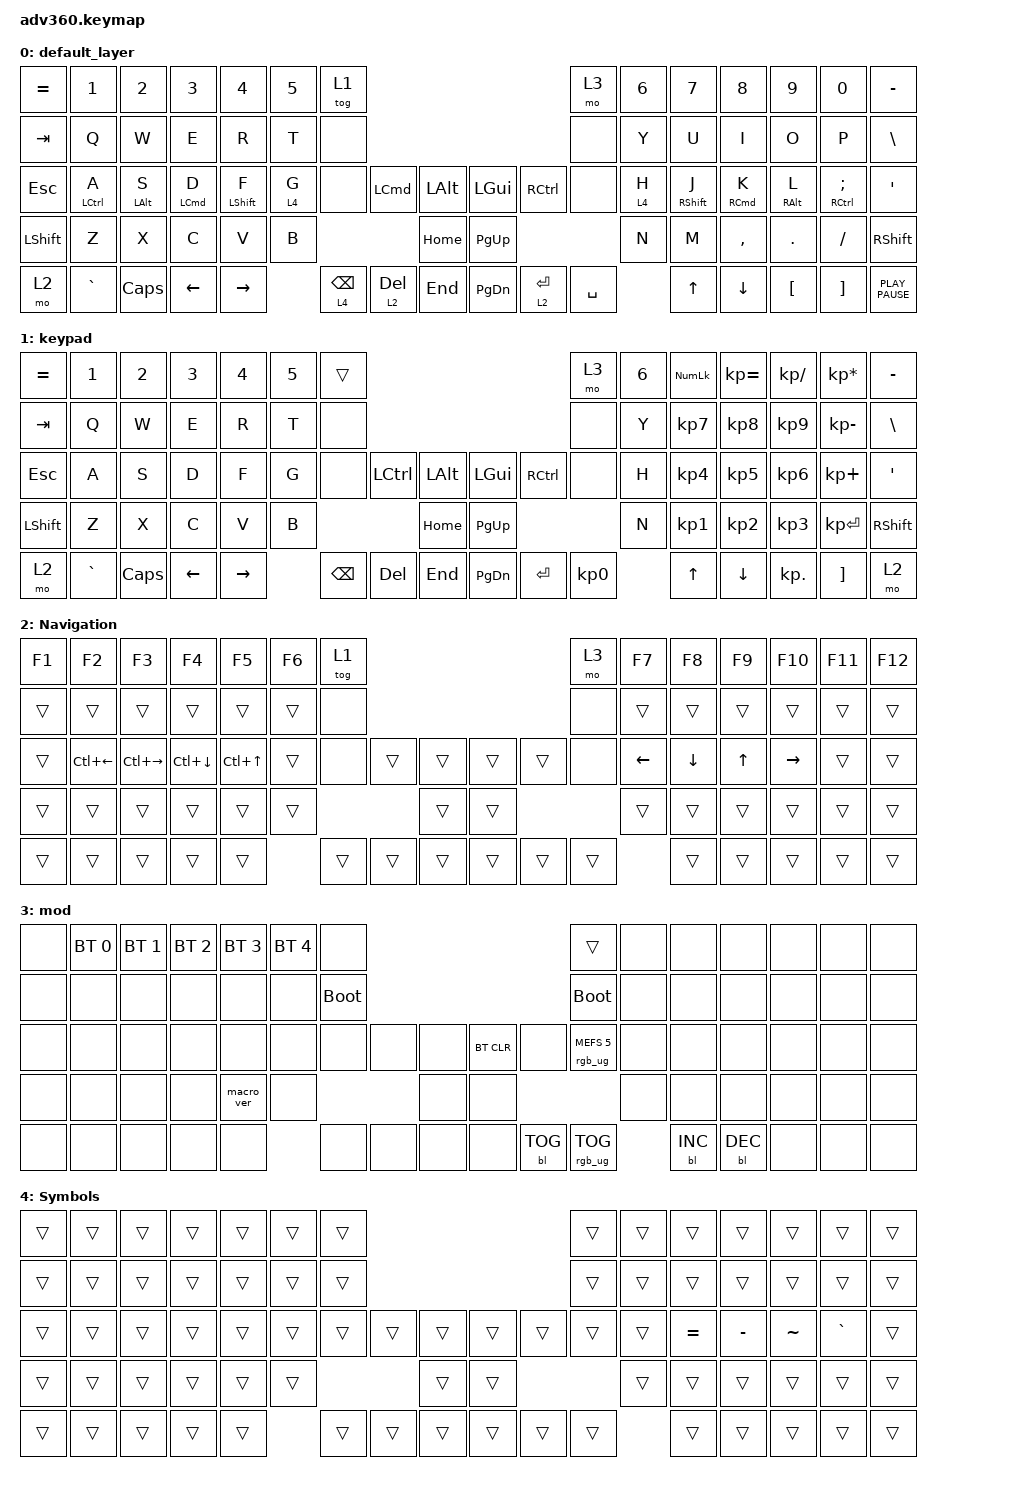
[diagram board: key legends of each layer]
#include <behaviors.dtsi>
#include <dt-bindings/zmk/backlight.h>
#include <dt-bindings/zmk/bt.h>
#include <dt-bindings/zmk/keys.h>
#include <dt-bindings/zmk/rgb.h>

/ {
    behaviors {
        #include "macros.dtsi"
      #include "version.dtsi"
      #ifndef VERSION_MACRO

        macro_ver: macro_ver {
            compatible = "zmk,behavior-macro";
            label = "macro_version";
            #binding-cells = <0>;
            bindings = <&kp RET>;
        };

        #endif

        hm: homerow_mods {
            compatible = "zmk,behavior-hold-tap";
            label = "HOMEROW_MODS";
            #binding-cells = <2>;
            tapping-term-ms = <200>;
            quick_tap_ms = <175>;
            flavor = "tap-preferred";
            bindings = <&kp>, <&kp>;
        };

        hml: hml {
            compatible = "zmk,behavior-hold-tap";
            label = "HOMEROW_LAYERS";
            #binding-cells = <2>;
            tapping-term-ms = <200>;
            quick_tap_ms = <175>;
            flavor = "tap-preferred";
            bindings = <&mo>, <&kp>;
        };
    };

    macros {
    };

    keymap {
        compatible = "zmk,keymap";

        default_layer {
            bindings = <
&kp EQUAL  &kp N1              &kp N2          &kp N3              &kp N4            &kp N5    &tog 1                                                                     &mo 3      &kp N6    &kp N7             &kp N8               &kp N9           &kp N0                  &kp MINUS
&kp TAB    &kp Q               &kp W           &kp E               &kp R             &kp T     &none                                                                      &none      &kp Y     &kp U              &kp I                &kp O            &kp P                   &kp BSLH
&kp ESC    &hm LEFT_CONTROL A  &hm LEFT_ALT S  &hm LEFT_COMMAND D  &hm LEFT_SHIFT F  &hml 4 G  &none             &kp LEFT_COMMAND  &kp LALT      &kp LGUI   &kp RCTRL     &none      &hml 4 H  &hm RIGHT_SHIFT J  &hm RIGHT_COMMAND K  &hm RIGHT_ALT L  &hm RIGHT_CONTROL SEMI  &kp SQT
&kp LSHFT  &kp Z               &kp X           &kp C               &kp V             &kp B                                         &kp HOME      &kp PG_UP                           &kp N     &kp M              &kp COMMA            &kp DOT          &kp FSLH                &kp RSHFT
&mo 2      &kp GRAVE           &kp CAPS        &kp LEFT            &kp RIGHT                   &hml 4 BACKSPACE  &hml 2 DELETE     &kp END       &kp PG_DN  &hml 2 ENTER  &kp SPACE            &kp UP             &kp DOWN             &kp LBKT         &kp RBKT                &kp K_PLAY_PAUSE
            >;
        };

        keypad {
            bindings = <
&kp EQUAL  &kp N1     &kp N2    &kp N3    &kp N4     &kp N5  &trans                                                   &mo 3      &kp N6  &kp KP_NUM  &kp KP_EQUAL  &kp KP_DIVIDE  &kp KP_MULTIPLY  &kp MINUS
&kp TAB    &kp Q      &kp W     &kp E     &kp R      &kp T   &none                                                    &none      &kp Y   &kp KP_N7   &kp KP_N8     &kp KP_N9      &kp KP_MINUS     &kp BSLH
&kp ESC    &kp A      &kp S     &kp D     &kp F      &kp G   &none     &kp LCTRL  &kp LALT      &kp LGUI   &kp RCTRL  &none      &kp H   &kp KP_N4   &kp KP_N5     &kp KP_N6      &kp KP_PLUS      &kp SQT
&kp LSHFT  &kp Z      &kp X     &kp C     &kp V      &kp B                        &kp HOME      &kp PG_UP                        &kp N   &kp KP_N1   &kp KP_N2     &kp KP_N3      &kp KP_ENTER     &kp RSHFT
&mo 2      &kp GRAVE  &kp CAPS  &kp LEFT  &kp RIGHT          &kp BSPC  &kp DEL    &kp END       &kp PG_DN  &kp ENTER  &kp KP_N0          &kp UP      &kp DOWN      &kp KP_DOT     &kp RBKT         &mo 2
            >;
        };

        Navigation {
            bindings = <
&kp F1  &kp F2              &kp F3         &kp F4        &kp F5            &kp F6  &tog 1                                      &mo 3   &kp F7    &kp F8    &kp F9  &kp F10    &kp F11  &kp F12
&trans  &trans              &trans         &trans        &trans            &trans  &none                                       &none   &trans    &trans    &trans  &trans     &trans   &trans
&trans  &kp LC(LEFT_ARROW)  &kp LC(RIGHT)  &kp LC(DOWN)  &kp LC(UP_ARROW)  &trans  &none   &trans  &trans      &trans  &trans  &none   &kp LEFT  &kp DOWN  &kp UP  &kp RIGHT  &trans   &trans
&trans  &trans              &trans         &trans        &trans            &trans                  &trans      &trans                  &trans    &trans    &trans  &trans     &trans   &trans
&trans  &trans              &trans         &trans        &trans                    &trans  &trans  &trans      &trans  &trans  &trans            &trans    &trans  &trans     &trans   &trans
            >;
        };

        mod {
            bindings = <
&none  &bt BT_SEL 0  &bt BT_SEL 1  &bt BT_SEL 2  &bt BT_SEL 3  &bt BT_SEL 4  &none                                                  &trans                  &none  &none       &none       &none  &none  &none
&none  &none         &none         &none         &none         &none         &bootloader                                            &bootloader             &none  &none       &none       &none  &none  &none
&none  &none         &none         &none         &none         &none         &none        &none  &none      &bt BT_CLR  &none       &rgb_ug RGB_MEFS_CMD 5  &none  &none       &none       &none  &none  &none
&none  &none         &none         &none         &macro_ver    &none                             &none      &none                                           &none  &none       &none       &none  &none  &none
&none  &none         &none         &none         &none                       &none        &none  &none      &none       &bl BL_TOG  &rgb_ug RGB_TOG                &bl BL_INC  &bl BL_DEC  &none  &none  &none
            >;
        };

        Symbols {
            bindings = <
&trans  &trans  &trans  &trans  &trans  &trans  &trans                                      &trans  &trans  &trans     &trans     &trans     &trans     &trans
&trans  &trans  &trans  &trans  &trans  &trans  &trans                                      &trans  &trans  &trans     &trans     &trans     &trans     &trans
&trans  &trans  &trans  &trans  &trans  &trans  &trans  &trans  &trans      &trans  &trans  &trans  &trans  &kp EQUAL  &kp MINUS  &kp TILDE  &kp GRAVE  &trans
&trans  &trans  &trans  &trans  &trans  &trans                  &trans      &trans                  &trans  &trans     &trans     &trans     &trans     &trans
&trans  &trans  &trans  &trans  &trans          &trans  &trans  &trans      &trans  &trans  &trans          &trans     &trans     &trans     &trans     &trans
            >;
        };
    };
};
